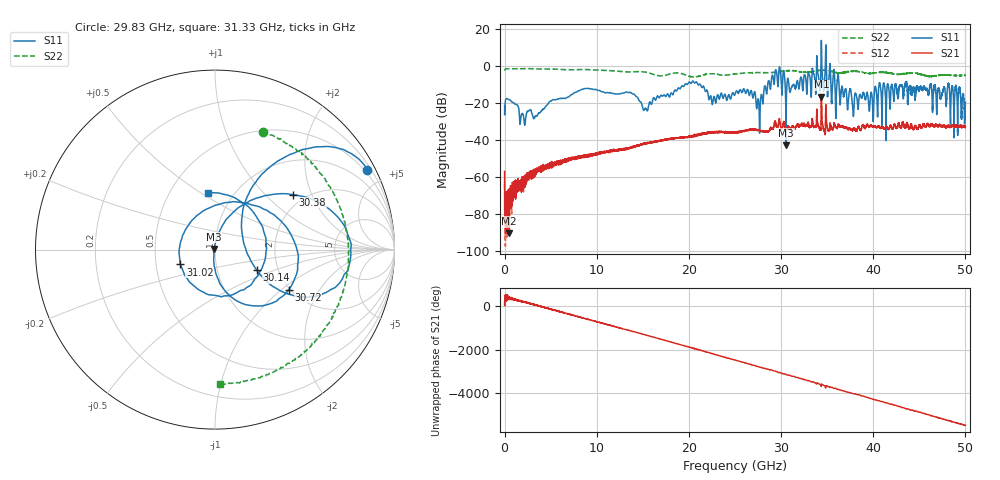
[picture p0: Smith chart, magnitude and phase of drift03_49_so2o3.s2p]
!Created with skrf (http://scikit-rf.org).
# Hz S RI R 50.0
!freq ReS11 ImS11 ReS21 ImS21 ReS12 ImS12 ReS22 ImS22
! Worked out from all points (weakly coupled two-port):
!   10001 points, 300 kHz to 50 GHz, reference 50 ohm
!   highest |S21| = -16.49 dB at 34.37 GHz (marker M1); lowest = -90.2 dB at 510.3 MHz (marker M2)
!   lowest |S11| = -42.8 dB at 30.53 GHz (marker M3), VSWR 1.01, Z = 49.4 + j0.407 ohm
!   |S11| at or under -10 dB: start of sweep to 19.55 GHz; 21.25 GHz to 28.55 GHz (7.298 GHz wide, 29.3 % of centre); 36.29 GHz to 40.62 GHz (4.336 GHz wide, 11.3 % of centre) (the widest 3 of 41)
!   |S22| runs from -5.9 to -1.3 dB; largest |S21 - S12| = 0.031
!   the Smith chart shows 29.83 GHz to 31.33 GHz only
!   S11 on the Smith chart (normalised r, x): 29.83 GHz: 0.40, +4.00; 30.14 GHz: 1.55, -0.38; 30.38 GHz: 1.73, +1.48; 30.72 GHz: 1.97, -1.12; 31.02 GHz: 0.67, -0.12; 31.33 GHz: 0.76, +0.53
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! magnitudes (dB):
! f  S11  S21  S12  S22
! 300 kHz  -21.6  -56.8  -63.5  -2.0
! 510.3 MHz  -18.1  -90.2  -68.1  -1.5
! 3.3 GHz  -27.3  -56.7  -58.4  -1.5
! 8.335 GHz  -12.6  -48.7  -48.9  -1.9
! 15.28 GHz  -22.8  -41.7  -41.4  -3.3
! 16.67 GHz  -16.5  -40.6  -40.4  -5.2
! 20.26 GHz  -9.2  -38.0  -38.1  -5.8
! 22.71 GHz  -16.5  -35.5  -35.7  -4.2
! 25 GHz  -15.3  -36.1  -35.6  -4.3
! 27.53 GHz  -17.9  -34.6  -34.6  -3.5
! 29.83 GHz  -0.4  -29.1  -28.4  -3.0
! 30.14 GHz  -11.7  -33.3  -33.4  -2.8
! 30.38 GHz  -5.5  -32.1  -32.3  -2.6
! 30.53 GHz  -42.8  -34.2  -34.1  -2.5
! 30.72 GHz  -6.6  -32.8  -32.6  -2.5
! 31.02 GHz  -13.5  -34.4  -34.3  -2.4
! 31.33 GHz  -9.9  -32.4  -32.4  -2.5
! 33.34 GHz  -7.3  -31.3  -31.3  -2.9
! 34.37 GHz  13.8  -16.5  -17.8  -2.3
! 37.86 GHz  -27.1  -33.5  -34.1  -2.8
! 41.67 GHz  -11.5  -34.1  -34.0  -3.6
! 50 GHz  -19.4  -32.8  -32.6  -4.9
